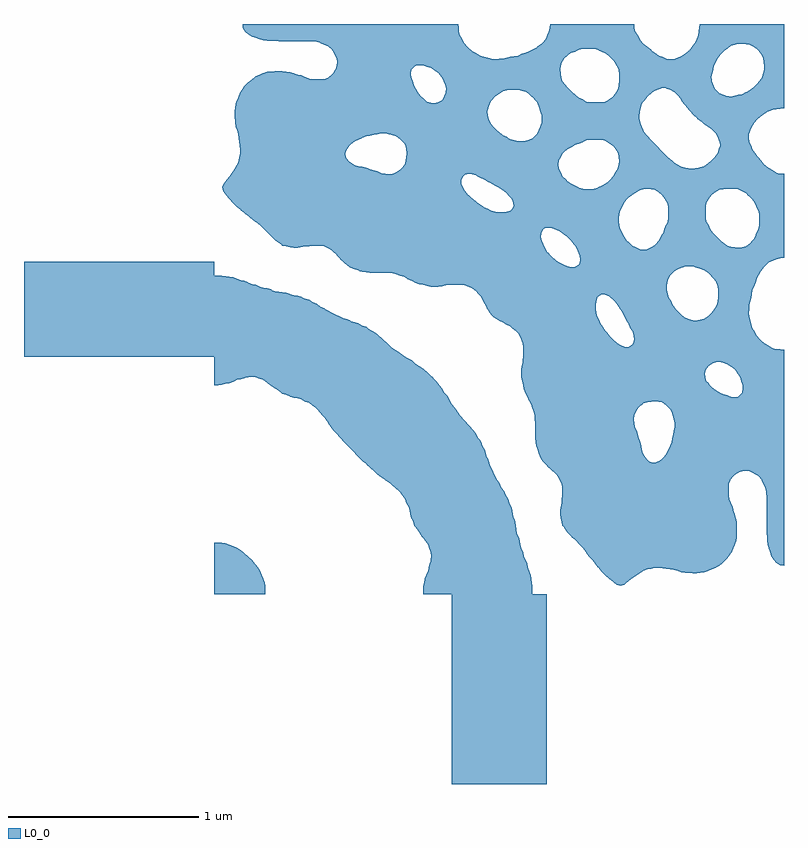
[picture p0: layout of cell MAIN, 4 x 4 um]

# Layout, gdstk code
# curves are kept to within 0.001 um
import gdstk
lib = gdstk.Library(unit=1e-6, precision=1e-09)
def R(c, l, rs):  # rectangles x0, y0, x1, y1
    for r in rs: c.add(gdstk.rectangle(r[:2], r[2:], *l))
def P(c, l, *ps):  # polygons
    for p in ps: c.add(gdstk.Polygon(p, *l))
L0_0 = (0, 0)

main = lib.new_cell('MAIN')
R(main, L0_0, [(-0.25,-2.5,0.25,-1.5), (-2.5,-0.25,-1.5,0.25)])
P(main, L0_0, [(0.175,-1.48),(0.168,-1.4),(0.152,-1.36),(0.148,-1.34),(0.131,-1.3),(0.127,-1.28),(0.117,-1.26),(0.111,-1.24),(0.103,-1.2),(0.094,-1.18),(0.085,-1.12),(0.072,-1.08),(0.064,-1.04),(0.053,-1.02),(0.048,-1),(0.035,-0.98),(0.027,-0.96),(0.013,-0.94),(0.004,-0.92),(-0.01,-0.9),(-0.049,-0.82),(-0.053,-0.8),(-0.064,-0.78),(-0.075,-0.74),(-0.087,-0.72),(-0.093,-0.7),(-0.108,-0.68),(-0.134,-0.64),(-0.206,-0.56),(-0.215,-0.546),(-0.94,-0.546),(-0.912,-0.58),(-0.886,-0.62),(-0.87,-0.64),(-0.8,-0.716),(-0.716,-0.8),(-0.64,-0.87),(-0.62,-0.886),(-0.58,-0.912),(-0.546,-0.94),(-0.52,-0.965),(-0.493,-1),(-0.487,-1.02),(-0.476,-1.04),(-0.468,-1.08),(-0.445,-1.14),(-0.373,-1.24),(-0.36,-1.28),(-0.356,-1.3),(-0.358,-1.32),(-0.373,-1.38),(-0.384,-1.4),(-0.39,-1.42),(-0.398,-1.46),(-0.4,-1.477),(-0.4,-1.5),(0.175,-1.5)],
  [(-0.219,-0.54),(-0.232,-0.52),(-0.248,-0.5),(-0.271,-0.46),(-0.287,-0.44),(-0.314,-0.4),(-0.35,-0.36),(-0.38,-0.331),(-0.4,-0.314),(-0.44,-0.287),(-0.46,-0.271),(-0.5,-0.248),(-0.52,-0.232),(-0.56,-0.206),(-0.64,-0.134),(-0.68,-0.108),(-0.7,-0.093),(-0.72,-0.087),(-0.74,-0.075),(-0.78,-0.064),(-0.8,-0.053),(-0.82,-0.049),(-0.9,-0.01),(-0.92,0.004),(-0.94,0.013),(-0.96,0.027),(-0.98,0.035),(-1,0.048),(-1.02,0.053),(-1.04,0.064),(-1.08,0.072),(-1.12,0.085),(-1.18,0.094),(-1.2,0.103),(-1.24,0.111),(-1.26,0.117),(-1.28,0.127),(-1.3,0.131),(-1.34,0.148),(-1.36,0.152),(-1.4,0.168),(-1.46,0.174),(-1.5,0.175),(-1.5,-0.4),(-1.477,-0.4),(-1.46,-0.398),(-1.42,-0.39),(-1.4,-0.384),(-1.38,-0.373),(-1.32,-0.358),(-1.3,-0.356),(-1.28,-0.36),(-1.24,-0.373),(-1.14,-0.445),(-1.08,-0.468),(-1.04,-0.476),(-1.02,-0.487),(-1,-0.493),(-0.965,-0.52),(-0.94,-0.546),(-0.215,-0.546)],
  [(-1.23,-1.48),(-1.233,-1.44),(-1.256,-1.38),(-1.28,-1.347),(-1.3,-1.323),(-1.323,-1.3),(-1.347,-1.28),(-1.38,-1.256),(-1.42,-1.24),(-1.44,-1.233),(-1.5,-1.23),(-1.5,-1.5),(-1.23,-1.5)],
  [(0.192,-0.68),(0.195,-0.72),(0.216,-0.78),(0.23,-0.8),(0.248,-0.82),(0.29,-0.86),(0.308,-0.88),(0.32,-0.898),(0.33,-0.92),(0.333,-0.96),(0.329,-1.02),(0.323,-1.06),(0.322,-1.08),(0.334,-1.14),(0.36,-1.175),(0.44,-1.256),(0.473,-1.3),(0.539,-1.38),(0.58,-1.419),(0.62,-1.452),(0.64,-1.457),(0.66,-1.45),(0.67,-1.44),(0.68,-1.434),(0.696,-1.42),(0.724,-1.4),(0.76,-1.377),(0.78,-1.37),(0.82,-1.363),(0.84,-1.362),(0.92,-1.372),(0.94,-1.377),(0.96,-1.385),(0.98,-1.388),(1.02,-1.39),(1.06,-1.389),(1.08,-1.386),(1.1,-1.377),(1.14,-1.363),(1.16,-1.35),(1.172,-1.34),(1.193,-1.32),(1.225,-1.28),(1.232,-1.26),(1.242,-1.24),(1.248,-1.22),(1.25,-1.2),(1.25,-1.12),(1.247,-1.1),(1.232,-1.06),(1.229,-1.04),(1.213,-1),(1.209,-0.96),(1.21,-0.92),(1.218,-0.9),(1.233,-0.88),(1.24,-0.873),(1.263,-0.86),(1.28,-0.853),(1.3,-0.852),(1.32,-0.854),(1.36,-0.874),(1.384,-0.9),(1.401,-0.94),(1.407,-0.96),(1.409,-1),(1.409,-1.16),(1.412,-1.22),(1.415,-1.24),(1.428,-1.28),(1.432,-1.3),(1.446,-1.32),(1.46,-1.335),(1.48,-1.348),(1.5,-1.35),(1.5,-0.56),(0.914,-0.56),(0.921,-0.58),(0.924,-0.6),(0.924,-0.62),(0.909,-0.7),(0.902,-0.72),(0.891,-0.74),(0.884,-0.76),(0.868,-0.78),(0.86,-0.788),(0.84,-0.802),(0.82,-0.808),(0.8,-0.807),(0.78,-0.794),(0.769,-0.78),(0.757,-0.76),(0.751,-0.74),(0.744,-0.7),(0.735,-0.68),(0.725,-0.64),(0.715,-0.62),(0.711,-0.6),(0.71,-0.58),(0.712,-0.56),(0.189,-0.56),(0.192,-0.62)],
  [(0.511,0.04),(0.517,0.06),(-0.092,0.06),(-0.084,0.04),(-0.071,0.02),(-0.062,0),(-0.048,-0.02),(-0.029,-0.04),(0,-0.062),(0.02,-0.071),(0.04,-0.084),(0.06,-0.092),(0.071,-0.1),(0.093,-0.12),(0.109,-0.14),(0.126,-0.18),(0.128,-0.2),(0.128,-0.24),(0.124,-0.28),(0.117,-0.32),(0.116,-0.34),(1.084,-0.34),(1.088,-0.32),(1.1,-0.3),(1.12,-0.287),(1.139,-0.28),(1.16,-0.278),(1.2,-0.29),(1.218,-0.3),(1.243,-0.32),(1.26,-0.344),(1.269,-0.36),(1.283,-0.4),(1.284,-0.42),(1.279,-0.44),(1.26,-0.461),(1.24,-0.465),(1.22,-0.463),(1.18,-0.449),(1.14,-0.428),(1.109,-0.4),(1.092,-0.38),(1.086,-0.36),(1.084,-0.34),(0.116,-0.34),(0.117,-0.36),(0.131,-0.42),(0.157,-0.48),(0.169,-0.5),(0.174,-0.52),(0.184,-0.54),(0.189,-0.56),(0.712,-0.56),(0.72,-0.54),(0.733,-0.52),(0.76,-0.497),(0.78,-0.49),(0.82,-0.486),(0.86,-0.492),(0.88,-0.506),(0.9,-0.527),(0.909,-0.54),(0.914,-0.56),(1.5,-0.56),(1.5,-0.214),(1.46,-0.211),(1.44,-0.206),(1.42,-0.193),(1.4,-0.183),(1.38,-0.167),(1.356,-0.14),(1.346,-0.12),(1.332,-0.1),(1.317,-0.04),(1.315,-0.02),(1.316,0),(1.318,0.02),(1.327,0.06),(1.154,0.06),(1.147,0.02),(1.12,-0.019),(1.097,-0.04),(1.08,-0.05),(1.04,-0.062),(1.02,-0.06),(0.98,-0.047),(0.96,-0.031),(0.94,-0.011),(0.915,0.02),(0.906,0.04),(0.893,0.06),(0.587,0.06),(0.6,0.049),(0.626,0.02),(0.662,-0.04),(0.671,-0.06),(0.684,-0.08),(0.692,-0.1),(0.704,-0.12),(0.709,-0.14),(0.711,-0.16),(0.706,-0.18),(0.7,-0.189),(0.68,-0.2),(0.66,-0.199),(0.64,-0.191),(0.62,-0.178),(0.6,-0.161),(0.58,-0.139),(0.535,-0.08),(0.528,-0.06),(0.518,-0.04),(0.512,-0.02),(0.51,0)],
  [(-1.175,0.36),(-1.14,0.334),(-1.08,0.322),(-0.98,0.332),(-0.96,0.333),(-0.92,0.33),(-0.898,0.32),(-0.88,0.308),(-0.86,0.29),(-0.82,0.248),(-0.8,0.23),(-0.78,0.216),(-0.72,0.195),(-0.68,0.192),(-0.62,0.192),(-0.56,0.189),(-0.54,0.184),(-0.52,0.174),(-0.5,0.169),(-0.48,0.157),(-0.42,0.131),(-0.36,0.117),(-0.32,0.117),(-0.28,0.124),(-0.24,0.128),(-0.2,0.128),(-0.18,0.126),(-0.14,0.109),(-0.12,0.093),(-0.1,0.071),(-0.092,0.06),(0.517,0.06),(0.52,0.064),(0.54,0.077),(0.56,0.075),(0.58,0.066),(0.587,0.06),(0.893,0.06),(0.884,0.1),(0.882,0.12),(0.89,0.16),(0.9,0.178),(0.922,0.2),(0.94,0.21),(0.98,0.224),(1,0.226),(1.02,0.224),(1.08,0.205),(1.112,0.18),(1.13,0.16),(1.144,0.14),(1.15,0.12),(1.153,0.1),(1.155,0.08),(1.154,0.06),(1.327,0.06),(1.333,0.1),(1.343,0.12),(1.356,0.16),(1.36,0.165),(1.378,0.2),(1.393,0.22),(1.42,0.245),(1.46,0.263),(1.48,0.268),(1.5,0.269),(1.5,0.4),(1.355,0.4),(1.349,0.38),(1.34,0.366),(1.32,0.344),(1.3,0.33),(1.26,0.322),(1.24,0.324),(1.2,0.334),(1.166,0.36),(1.128,0.4),(0.865,0.4),(0.841,0.36),(0.82,0.335),(0.78,0.315),(0.76,0.313),(0.74,0.315),(0.72,0.326),(0.7,0.334),(0.673,0.36),(0.659,0.38),(0.649,0.4),(0.333,0.4),(0.359,0.38),(0.38,0.359),(0.409,0.32),(0.426,0.28),(0.428,0.26),(0.425,0.24),(0.42,0.233),(0.4,0.222),(0.38,0.221),(0.34,0.232),(0.3,0.255),(0.28,0.273),(0.255,0.3),(0.232,0.34),(0.221,0.38),(0.222,0.4),(-1.215,0.4)],
  [(-1.256,0.44),(-1.215,0.4),(0.222,0.4),(0.233,0.42),(0.24,0.425),(0.26,0.428),(0.28,0.426),(0.32,0.409),(0.333,0.4),(0.649,0.4),(0.638,0.42),(0.632,0.44),(0.63,0.48),(0.632,0.5),(0.638,0.52),(0.659,0.56),(0.675,0.58),(0.7,0.602),(0.74,0.626),(0.78,0.632),(0.82,0.628),(0.84,0.615),(0.86,0.599),(0.885,0.56),(0.89,0.54),(0.89,0.48),(0.887,0.46),(0.878,0.44),(0.865,0.4),(1.128,0.4),(1.112,0.42),(1.104,0.44),(1.092,0.46),(1.087,0.5),(1.088,0.54),(1.092,0.56),(1.118,0.6),(1.14,0.616),(1.16,0.628),(1.2,0.633),(1.22,0.633),(1.26,0.629),(1.3,0.608),(1.32,0.591),(1.347,0.56),(1.354,0.54),(1.365,0.52),(1.369,0.5),(1.369,0.44),(1.365,0.42),(1.355,0.4),(1.5,0.4),(1.5,0.711),(1.48,0.712),(1.468,0.715),(0.61,0.715),(0.602,0.7),(0.585,0.68),(0.56,0.659),(0.52,0.638),(0.5,0.632),(0.46,0.63),(0.44,0.632),(0.42,0.638),(0.38,0.659),(0.36,0.673),(0.334,0.7),(0.328,0.715),(-0.552,0.715),(-0.56,0.712),(-0.58,0.71),(-0.6,0.711),(-0.62,0.715),(-1.407,0.715),(-1.42,0.696),(-1.434,0.68),(-0.2,0.68),(-0.188,0.7),(-0.18,0.706),(-0.16,0.711),(-0.14,0.709),(-0.12,0.704),(-0.1,0.692),(-0.08,0.684),(-0.06,0.671),(-0.04,0.662),(0.02,0.626),(0.049,0.6),(0.066,0.58),(0.075,0.56),(0.077,0.54),(0.064,0.52),(0.06,0.517),(0.04,0.511),(0,0.51),(-0.02,0.512),(-0.04,0.518),(-0.06,0.528),(-0.08,0.535),(-0.139,0.58),(-0.161,0.6),(-0.178,0.62),(-0.191,0.64),(-0.199,0.66),(-0.2,0.68),(-1.434,0.68),(-1.44,0.67),(-1.45,0.66),(-1.457,0.64),(-1.452,0.62),(-1.419,0.58),(-1.38,0.539),(-1.3,0.473)],
  [(-1.37,0.78),(-1.377,0.76),(-1.407,0.715),(-0.62,0.715),(-0.64,0.725),(-0.68,0.735),(-0.7,0.744),(-0.74,0.751),(-0.76,0.757),(-0.78,0.769),(-0.794,0.78),(-0.807,0.8),(-0.808,0.82),(-0.802,0.84),(-0.788,0.86),(-0.76,0.884),(-0.74,0.891),(-0.72,0.902),(-0.7,0.909),(-0.64,0.921),(-0.62,0.924),(-0.6,0.924),(-0.58,0.921),(-0.54,0.909),(-0.527,0.9),(-0.506,0.88),(-0.492,0.86),(-0.486,0.82),(-0.49,0.78),(-0.497,0.76),(-0.52,0.733),(-0.54,0.72),(-0.552,0.715),(0.328,0.715),(0.315,0.74),(0.313,0.76),(0.315,0.78),(0.335,0.82),(0.36,0.841),(0.4,0.865),(0.44,0.878),(0.46,0.887),(0.5,0.891),(0.54,0.89),(0.56,0.885),(0.599,0.86),(0.615,0.84),(0.628,0.82),(0.632,0.78),(0.63,0.76),(0.626,0.74),(0.61,0.715),(1.468,0.715),(1.46,0.717),(1.42,0.741),(1.4,0.757),(1.379,0.78),(1.334,0.84),(1.327,0.86),(1.317,0.88),(1.314,0.9),(1.315,0.92),(1.33,0.96),(1.344,0.98),(1.072,0.98),(1.12,0.945),(1.144,0.92),(1.162,0.88),(1.164,0.86),(1.15,0.82),(1.14,0.806),(1.117,0.78),(1.08,0.752),(1.02,0.737),(1,0.738),(0.96,0.75),(0.938,0.76),(0.92,0.772),(0.889,0.8),(0.8,0.889),(0.772,0.92),(0.759,0.94),(0.75,0.96),(0.744,0.98),(0.224,0.98),(0.21,0.94),(0.2,0.922),(0.178,0.9),(0.16,0.89),(0.12,0.882),(0.1,0.884),(0.06,0.893),(0.04,0.906),(0.02,0.915),(-0.011,0.94),(-0.031,0.96),(-0.047,0.98),(-1.388,0.98),(-1.385,0.96),(-1.377,0.94),(-1.372,0.92),(-1.362,0.84),(-1.363,0.82)],
  [(0.631,1.18),(0.628,1.16),(0.62,1.146),(0.6,1.118),(0.56,1.092),(0.54,1.088),(0.5,1.087),(0.46,1.092),(0.44,1.104),(0.42,1.112),(0.4,1.128),(0.36,1.166),(0.334,1.2),(0.325,1.233),(-0.312,1.233),(-0.3,1.218),(-0.29,1.2),(-0.283,1.18),(-0.278,1.16),(-0.28,1.139),(-0.287,1.12),(-0.3,1.1),(-0.32,1.088),(-0.34,1.084),(-0.36,1.086),(-0.38,1.092),(-0.4,1.109),(-0.428,1.14),(-0.449,1.18),(-0.463,1.22),(-0.464,1.233),(-0.88,1.233),(-0.9,1.218),(-0.92,1.21),(-0.94,1.209),(-0.98,1.21),(-1,1.213),(-1.04,1.229),(-1.062,1.233),(-1.258,1.233),(-1.28,1.225),(-1.32,1.193),(-1.35,1.16),(-1.363,1.14),(-1.377,1.1),(-1.386,1.08),(-1.39,1.04),(-1.388,0.98),(-0.047,0.98),(-0.06,1.02),(-0.062,1.04),(-0.05,1.08),(-0.04,1.097),(-0.019,1.12),(0.02,1.147),(0.06,1.154),(0.08,1.155),(0.12,1.15),(0.14,1.144),(0.16,1.13),(0.18,1.112),(0.19,1.1),(0.205,1.08),(0.224,1.02),(0.226,1),(0.224,0.98),(0.744,0.98),(0.738,1),(0.737,1.02),(0.752,1.08),(0.78,1.117),(0.806,1.14),(0.82,1.15),(0.86,1.164),(0.88,1.162),(0.92,1.144),(0.94,1.126),(0.96,1.101),(0.973,1.08),(1.02,1.025),(1.047,1),(1.072,0.98),(1.344,0.98),(1.36,1),(1.385,1.02),(1.42,1.041),(1.44,1.049),(1.5,1.057),(1.5,1.233),(1.389,1.233),(1.386,1.22),(1.36,1.186),(1.34,1.167),(1.32,1.151),(1.28,1.131),(1.22,1.118),(1.2,1.121),(1.16,1.135),(1.135,1.16),(1.121,1.2),(1.118,1.22),(1.121,1.233),(0.632,1.233),(0.633,1.2)],
  [(-0.464,1.233),(-0.465,1.24),(-0.461,1.26),(-0.44,1.279),(-0.42,1.284),(-0.4,1.283),(-0.36,1.269),(-0.344,1.26),(-0.32,1.243),(-0.312,1.233),(0.325,1.233),(0.322,1.26),(0.325,1.28),(0.33,1.3),(0.344,1.32),(0.366,1.34),(0.38,1.349),(0.4,1.355),(0.42,1.365),(0.44,1.369),(0.46,1.37),(0.5,1.369),(0.52,1.365),(0.54,1.354),(0.56,1.347),(0.591,1.32),(0.608,1.3),(0.629,1.26),(0.632,1.233),(1.121,1.233),(1.131,1.28),(1.14,1.299),(1.151,1.32),(1.18,1.354),(1.22,1.386),(1.26,1.395),(1.28,1.397),(1.32,1.39),(1.34,1.381),(1.36,1.366),(1.381,1.34),(1.39,1.32),(1.397,1.28),(1.395,1.26),(1.389,1.233),(1.5,1.233),(1.5,1.5),(1.057,1.5),(1.049,1.44),(1.041,1.42),(1.02,1.385),(1,1.36),(0.96,1.33),(0.92,1.315),(0.9,1.314),(0.88,1.317),(0.86,1.327),(0.84,1.334),(0.78,1.379),(0.76,1.397),(0.741,1.42),(0.717,1.46),(0.712,1.48),(0.711,1.5),(0.269,1.5),(0.268,1.48),(0.263,1.46),(0.245,1.42),(0.22,1.393),(0.2,1.378),(0.165,1.36),(0.16,1.356),(0.12,1.343),(0.1,1.333),(0.06,1.327),(0.02,1.318),(-0.02,1.315),(-0.04,1.317),(-0.1,1.332),(-0.12,1.346),(-0.14,1.356),(-0.16,1.373),(-0.183,1.4),(-0.193,1.42),(-0.206,1.44),(-0.211,1.46),(-0.214,1.5),(-1.35,1.5),(-1.348,1.48),(-1.335,1.46),(-1.32,1.446),(-1.3,1.432),(-1.28,1.428),(-1.24,1.415),(-1.22,1.412),(-1.16,1.409),(-1,1.409),(-0.96,1.407),(-0.94,1.401),(-0.9,1.384),(-0.874,1.36),(-0.854,1.32),(-0.852,1.3),(-0.853,1.28),(-0.86,1.263),(-0.873,1.24),(-0.88,1.233)],
  [(-1.08,1.24),(-1.1,1.247),(-1.12,1.25),(-1.14,1.251),(-1.18,1.251),(-1.2,1.25),(-1.22,1.248),(-1.24,1.242),(-1.243,1.24),(-1.258,1.233),(-1.062,1.233)])

lib.write_gds('MAIN.gds')
